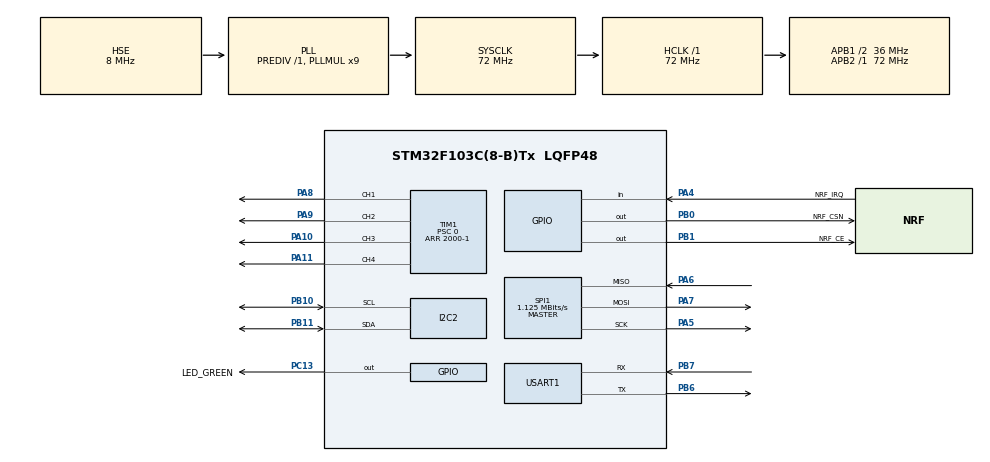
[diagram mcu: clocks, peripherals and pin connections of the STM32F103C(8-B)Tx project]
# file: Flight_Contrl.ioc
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FREERTOS.Mutexes01=NRF_Mutex,Dynamic,NULL
FREERTOS.Tasks01=DefaultTask,0,64,StartDefaultTask,Default,NULL,Dynamic,NULL,NULL;NRF_RxTask,2,128,StartNRF_RxTask,Default,NULL,Dynamic,NULL,NULL;NRF_TxTask,2,128,StartNRF_TxTask,Default,NULL,Dynamic,NULL,NULL
FREERTOS.configENABLE_BACKWARD_COMPATIBILITY=0
FREERTOS.configGENERATE_RUN_TIME_STATS=1
FREERTOS.configIDLE_SHOULD_YIELD=0
FREERTOS.configMINIMAL_STACK_SIZE=64
FREERTOS.configQUEUE_REGISTRY_SIZE=0
FREERTOS.configUSE_MUTEXES=1
FREERTOS.configUSE_STATS_FORMATTING_FUNCTIONS=1
FREERTOS.configUSE_TASK_NOTIFICATIONS=0
FREERTOS.configUSE_TRACE_FACILITY=1
I2C2.I2C_Mode=I2C_Fast
Mcu.Family=STM32F1
Mcu.Name=STM32F103C(8-B)Tx
Mcu.Package=LQFP48
NVIC.PriorityGroup=NVIC_PRIORITYGROUP_4
NVIC.TIM2_IRQn=true\:0\:0\:false\:false\:true\:false\:false
NVIC.TIM4_IRQn=true\:5\:0\:true\:true\:true\:1\:true\:true
NVIC.TimeBase=TIM2_IRQn
NVIC.TimeBaseIP=TIM2
PA10.Signal=S_TIM1_CH3
PA11.Signal=S_TIM1_CH4
PA13.Mode=Serial_Wire
PA13.Signal=SYS_JTMS-SWDIO
PA14.Mode=Serial_Wire
PA14.Signal=SYS_JTCK-SWCLK
PA4.GPIO_Label=NRF_IRQ
PA4.GPIO_PuPd=GPIO_NOPULL
PA4.Signal=GPIO_Input
PA5.Mode=Full_Duplex_Master
PA5.Signal=SPI1_SCK
PA6.Mode=Full_Duplex_Master
PA6.Signal=SPI1_MISO
PA7.Mode=Full_Duplex_Master
PA7.Signal=SPI1_MOSI
PA8.Signal=S_TIM1_CH1
PA9.Signal=S_TIM1_CH2
PB0.GPIO_Label=NRF_CSN
PB0.GPIO_Speed=GPIO_SPEED_FREQ_HIGH
PB0.Signal=GPIO_Output
PB1.GPIO_Label=NRF_CE
PB1.GPIO_Speed=GPIO_SPEED_FREQ_HIGH
PB1.Signal=GPIO_Output
PB10.Mode=I2C
PB10.Signal=I2C2_SCL
PB11.Mode=I2C
PB11.Signal=I2C2_SDA
PB6.Mode=Asynchronous
PB6.Signal=USART1_TX
PB7.Mode=Asynchronous
PB7.Signal=USART1_RX
PC13-TAMPER-RTC.GPIO_Label=LED_GREEN
PC13-TAMPER-RTC.GPIO_Speed=GPIO_SPEED_FREQ_HIGH
PC13-TAMPER-RTC.Signal=GPIO_Output
PC14-OSC32_IN.Mode=LSE-External-Oscillator
PC14-OSC32_IN.Signal=RCC_OSC32_IN
PC15-OSC32_OUT.Mode=LSE-External-Oscillator
PC15-OSC32_OUT.Signal=RCC_OSC32_OUT
PD0-OSC_IN.Mode=HSE-External-Oscillator
PD0-OSC_IN.Signal=RCC_OSC_IN
PD1-OSC_OUT.Mode=HSE-External-Oscillator
PD1-OSC_OUT.Signal=RCC_OSC_OUT
ProjectManager.HeapSize=0x400
ProjectManager.StackSize=0x600
ProjectManager.TargetToolchain=MDK-ARM V5
RCC.AHBFreq_Value=72000000
RCC.APB1CLKDivider=RCC_HCLK_DIV2
RCC.APB1Freq_Value=36000000
RCC.APB1TimFreq_Value=72000000
RCC.APB2Freq_Value=72000000
RCC.APB2TimFreq_Value=72000000
RCC.EnbaleCSS=true
RCC.HCLKFreq_Value=72000000
RCC.PLLMUL=RCC_PLL_MUL9
RCC.PLLSourceVirtual=RCC_PLLSOURCE_HSE
RCC.SYSCLKFreq_VALUE=72000000
RCC.SYSCLKSource=RCC_SYSCLKSOURCE_PLLCLK
RCC.USBFreq_Value=48000000
RCC.USBPrescaler=RCC_USBCLKSOURCE_PLL_DIV1_5
SH.S_TIM1_CH1.0=TIM1_CH1,PWM Generation1 CH1
SH.S_TIM1_CH2.0=TIM1_CH2,PWM Generation2 CH2
SH.S_TIM1_CH3.0=TIM1_CH3,PWM Generation3 CH3
SH.S_TIM1_CH4.0=TIM1_CH4,PWM Generation4 CH4
SPI1.BaudRatePrescaler=SPI_BAUDRATEPRESCALER_64
SPI1.CalculateBaudRate=1.125 MBits/s
SPI1.Direction=SPI_DIRECTION_2LINES
SPI1.Mode=SPI_MODE_MASTER
SPI1.VirtualType=VM_MASTER
TIM1.Channel-PWM\ Generation1\ CH1=TIM_CHANNEL_1
TIM1.Channel-PWM\ Generation2\ CH2=TIM_CHANNEL_2
TIM1.Channel-PWM\ Generation3\ CH3=TIM_CHANNEL_3
TIM1.Channel-PWM\ Generation4\ CH4=TIM_CHANNEL_4
TIM1.OCFastMode_PWM-PWM\ Generation1\ CH1=TIM_OCFAST_ENABLE
TIM1.OCFastMode_PWM-PWM\ Generation2\ CH2=TIM_OCFAST_ENABLE
TIM1.OCFastMode_PWM-PWM\ Generation3\ CH3=TIM_OCFAST_ENABLE
TIM1.OCFastMode_PWM-PWM\ Generation4\ CH4=TIM_OCFAST_ENABLE
TIM1.Period=2000-1
TIM1.Prescaler=0
TIM1.Pulse-PWM\ Generation1\ CH1=0
TIM1.Pulse-PWM\ Generation2\ CH2=0
TIM4.Period=1000-1
TIM4.Prescaler=72-1
USART1.VirtualMode=VM_ASYNC
VP_CRC_VS_CRC.Mode=CRC_Activate
VP_FREERTOS_VS_ENABLE.Mode=Enabled
VP_SYS_VS_tim2.Mode=TIM2
VP_TIM1_VS_ClockSourceINT.Mode=Internal
VP_TIM4_VS_ClockSourceINT.Mode=Internal
board=Flight_Contrl

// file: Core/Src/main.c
/* USER CODE BEGIN Header */
/**
  ******************************************************************************
  * @file           : main.c
  * @brief          : Main program body
  ******************************************************************************
  * This notice applies to any and all portions of this file
  * that are not between comment pairs USER CODE BEGIN and
  * USER CODE END. Other portions of this file, whether
  * inserted by the user or by software development tools
  * are owned by their respective copyright owners.
  *
  * Copyright (c) 2018 STMicroelectronics International N.V.
  * All rights reserved.
  *
  * Redistribution and use in source and binary forms, with or without
  * modification, are permitted, provided that the following conditions are met:
  *
  * 1. Redistribution of source code must retain the above copyright notice,
  *    this list of conditions and the following disclaimer.
  * 2. Redistributions in binary form must reproduce the above copyright notice,
  *    this list of conditions and the following disclaimer in the documentation
  *    and/or other materials provided with the distribution.
  * 3. Neither the name of STMicroelectronics nor the names of other
  *    contributors to this software may be used to endorse or promote products
  *    derived from this software without specific written permission.
  * 4. This software, including modifications and/or derivative works of this
  *    software, must execute solely and exclusively on microcontroller or
  *    microprocessor devices manufactured by or for STMicroelectronics.
  * 5. Redistribution and use of this software other than as permitted under
  *    this license is void and will automatically terminate your rights under
  *    this license.
  *
  * THIS SOFTWARE IS PROVIDED BY STMICROELECTRONICS AND CONTRIBUTORS "AS IS"
  * AND ANY EXPRESS, IMPLIED OR STATUTORY WARRANTIES, INCLUDING, BUT NOT
  * LIMITED TO, THE IMPLIED WARRANTIES OF MERCHANTABILITY, FITNESS FOR A
  * PARTICULAR PURPOSE AND NON-INFRINGEMENT OF THIRD PARTY INTELLECTUAL PROPERTY
  * RIGHTS ARE DISCLAIMED TO THE FULLEST EXTENT PERMITTED BY LAW. IN NO EVENT
  * SHALL STMICROELECTRONICS OR CONTRIBUTORS BE LIABLE FOR ANY DIRECT, INDIRECT,
  * INCIDENTAL, SPECIAL, EXEMPLARY, OR CONSEQUENTIAL DAMAGES (INCLUDING, BUT NOT
  * LIMITED TO, PROCUREMENT OF SUBSTITUTE GOODS OR SERVICES; LOSS OF USE, DATA,
  * OR PROFITS; OR BUSINESS INTERRUPTION) HOWEVER CAUSED AND ON ANY THEORY OF
  * LIABILITY, WHETHER IN CONTRACT, STRICT LIABILITY, OR TORT (INCLUDING
  * NEGLIGENCE OR OTHERWISE) ARISING IN ANY WAY OUT OF THE USE OF THIS SOFTWARE,
  * EVEN IF ADVISED OF THE POSSIBILITY OF SUCH DAMAGE.
  *
  ******************************************************************************
  */
/* USER CODE END Header */

#include "main.h"
#include "cmsis_os.h"
#include "crc.h"
#include "i2c.h"
#include "spi.h"
#include "tim.h"
#include "usart.h"
#include "gpio.h"

/* USER CODE BEGIN Includes */
#include "BSP_NRF24L01.h"
/* USER CODE END Includes */

/* USER CODE BEGIN PV */
uint8_t NRF_TxState=0;
uint8_t NRF_RxState=0;

uint8_t Tx_packet[11]="FCTx_packet";
uint8_t Rx_packet[11];
/* USER CODE END PV */

void SystemClock_Config(void);
void MX_FREERTOS_Init(void);
static void MX_NVIC_Init(void);

int main(void)
{

  /* MCU Configuration--------------------------------------------------------*/

  /* Reset of all peripherals, Initializes the Flash interface and the Systick. */
  HAL_Init();

  /* Configure the system clock */
  SystemClock_Config();

  /* Initialize all configured peripherals */
  MX_GPIO_Init();
  MX_I2C2_Init();
  MX_SPI1_Init();
  MX_TIM1_Init();
  MX_USART1_UART_Init();
  MX_CRC_Init();
  MX_TIM4_Init();

  /* Initialize interrupts */
  MX_NVIC_Init();
  /* USER CODE BEGIN 2 */

	/*   检测双向通信  先发送测试  后接收测试  确保硬件没有问题    */

	/*********发送测试部分**********/
//	NRF24L01_TX_Mode();
//  while(1)
//	{
//	  NRF_TxState=NRF24L01_TxPacket(Tx_packet);
//	}

	/*********接收测试部分**********/
//	NRF24L01_RX_Mode();
//  while(1)
//	{
//	  NRF_RxState=NRF24L01_RxPacket(Rx_packet);
//	}

  /* USER CODE END 2 */

  /* Call init function for freertos objects (in freertos.c) */
  MX_FREERTOS_Init();

  /* Start scheduler */
  osKernelStart();

  /* We should never get here as control is now taken by the scheduler */

  /* Infinite loop */
  while (1)
  {

  }
}

void SystemClock_Config(void)
{
  RCC_OscInitTypeDef RCC_OscInitStruct = {0};
  RCC_ClkInitTypeDef RCC_ClkInitStruct = {0};

  /**Initializes the CPU, AHB and APB busses clocks
  */
  RCC_OscInitStruct.OscillatorType = RCC_OSCILLATORTYPE_HSE;
  RCC_OscInitStruct.HSEState = RCC_HSE_ON;
  RCC_OscInitStruct.HSEPredivValue = RCC_HSE_PREDIV_DIV1;
  RCC_OscInitStruct.HSIState = RCC_HSI_ON;
  RCC_OscInitStruct.PLL.PLLState = RCC_PLL_ON;
  RCC_OscInitStruct.PLL.PLLSource = RCC_PLLSOURCE_HSE;
  RCC_OscInitStruct.PLL.PLLMUL = RCC_PLL_MUL9;
  if (HAL_RCC_OscConfig(&RCC_OscInitStruct) != HAL_OK)
  {
    Error_Handler();
  }
  /**Initializes the CPU, AHB and APB busses clocks
  */
  RCC_ClkInitStruct.ClockType = RCC_CLOCKTYPE_HCLK|RCC_CLOCKTYPE_SYSCLK
                              |RCC_CLOCKTYPE_PCLK1|RCC_CLOCKTYPE_PCLK2;
  RCC_ClkInitStruct.SYSCLKSource = RCC_SYSCLKSOURCE_PLLCLK;
  RCC_ClkInitStruct.AHBCLKDivider = RCC_SYSCLK_DIV1;
  RCC_ClkInitStruct.APB1CLKDivider = RCC_HCLK_DIV2;
  RCC_ClkInitStruct.APB2CLKDivider = RCC_HCLK_DIV1;

  if (HAL_RCC_ClockConfig(&RCC_ClkInitStruct, FLASH_LATENCY_2) != HAL_OK)
  {
    Error_Handler();
  }
  /**Enables the Clock Security System
  */
  HAL_RCC_EnableCSS();
}

/**
  * @brief NVIC Configuration.
  * @retval None
  */
static void MX_NVIC_Init(void)
{
  /* TIM4_IRQn interrupt configuration */
  HAL_NVIC_SetPriority(TIM4_IRQn, 5, 0);
  HAL_NVIC_EnableIRQ(TIM4_IRQn);
}

void HAL_TIM_PeriodElapsedCallback(TIM_HandleTypeDef *htim)
{
  if (htim->Instance == TIM2) {
    HAL_IncTick();
  }
}

void Error_Handler(void)
{
}

/************************ (C) COPYRIGHT STMicroelectronics *****END OF FILE****/

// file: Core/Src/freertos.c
/* USER CODE BEGIN Header */
/**
  ******************************************************************************
  * File Name          : freertos.c
  * Description        : Code for freertos applications
  ******************************************************************************
  * This notice applies to any and all portions of this file
  * that are not between comment pairs USER CODE BEGIN and
  * USER CODE END. Other portions of this file, whether
  * inserted by the user or by software development tools
  * are owned by their respective copyright owners.
  *
  * Copyright (c) 2018 STMicroelectronics International N.V.
  * All rights reserved.
  *
  * Redistribution and use in source and binary forms, with or without
  * modification, are permitted, provided that the following conditions are met:
  *
  * 1. Redistribution of source code must retain the above copyright notice,
  *    this list of conditions and the following disclaimer.
  * 2. Redistributions in binary form must reproduce the above copyright notice,
  *    this list of conditions and the following disclaimer in the documentation
  *    and/or other materials provided with the distribution.
  * 3. Neither the name of STMicroelectronics nor the names of other
  *    contributors to this software may be used to endorse or promote products
  *    derived from this software without specific written permission.
  * 4. This software, including modifications and/or derivative works of this
  *    software, must execute solely and exclusively on microcontroller or
  *    microprocessor devices manufactured by or for STMicroelectronics.
  * 5. Redistribution and use of this software other than as permitted under
  *    this license is void and will automatically terminate your rights under
  *    this license.
  *
  * THIS SOFTWARE IS PROVIDED BY STMICROELECTRONICS AND CONTRIBUTORS "AS IS"
  * AND ANY EXPRESS, IMPLIED OR STATUTORY WARRANTIES, INCLUDING, BUT NOT
  * LIMITED TO, THE IMPLIED WARRANTIES OF MERCHANTABILITY, FITNESS FOR A
  * PARTICULAR PURPOSE AND NON-INFRINGEMENT OF THIRD PARTY INTELLECTUAL PROPERTY
  * RIGHTS ARE DISCLAIMED TO THE FULLEST EXTENT PERMITTED BY LAW. IN NO EVENT
  * SHALL STMICROELECTRONICS OR CONTRIBUTORS BE LIABLE FOR ANY DIRECT, INDIRECT,
  * INCIDENTAL, SPECIAL, EXEMPLARY, OR CONSEQUENTIAL DAMAGES (INCLUDING, BUT NOT
  * LIMITED TO, PROCUREMENT OF SUBSTITUTE GOODS OR SERVICES; LOSS OF USE, DATA,
  * OR PROFITS; OR BUSINESS INTERRUPTION) HOWEVER CAUSED AND ON ANY THEORY OF
  * LIABILITY, WHETHER IN CONTRACT, STRICT LIABILITY, OR TORT (INCLUDING
  * NEGLIGENCE OR OTHERWISE) ARISING IN ANY WAY OUT OF THE USE OF THIS SOFTWARE,
  * EVEN IF ADVISED OF THE POSSIBILITY OF SUCH DAMAGE.
  *
  ******************************************************************************
  */
/* USER CODE END Header */

#include "FreeRTOS.h"
#include "task.h"
#include "main.h"
#include "cmsis_os.h"

/* USER CODE BEGIN Includes */
#include "crc.h"
#include "gpio.h"

#include "BSP_LED.h"
#include "BSP_NRF24L01.h"
#include "string.h"

/* USER CODE END Includes */

/* USER CODE BEGIN PD */

#define NRF_TX_MAXRETRY 3
#define NRF_RX_MAXRETRY 3
/* USER CODE END PD */

osThreadId DefaultTaskHandle;
osThreadId NRF_RxTaskHandle;
osThreadId NRF_TxTaskHandle;
osMutexId NRF_MutexHandle;

void StartDefaultTask(void const * argument);
void StartNRF_RxTask(void const * argument);
void StartNRF_TxTask(void const * argument);

void MX_FREERTOS_Init(void); /* (MISRA C 2004 rule 8.1) */

/* Hook prototypes */
void configureTimerForRunTimeStats(void);
unsigned long getRunTimeCounterValue(void);

/* USER CODE BEGIN 1 */
/* Functions needed when configGENERATE_RUN_TIME_STATS is on */
__weak void configureTimerForRunTimeStats(void)
{

}

__weak unsigned long getRunTimeCounterValue(void)
{
return 0;
}
/* USER CODE END 1 */

void MX_FREERTOS_Init(void) {

  /* Create the mutex(es) */
  /* definition and creation of NRF_Mutex */
  osMutexDef(NRF_Mutex);
  NRF_MutexHandle = osMutexCreate(osMutex(NRF_Mutex));

  /* Create the thread(s) */
  /* definition and creation of DefaultTask */
  osThreadDef(DefaultTask, StartDefaultTask, osPriorityNormal, 0, 64);
  DefaultTaskHandle = osThreadCreate(osThread(DefaultTask), NULL);

  /* definition and creation of NRF_RxTask */
  osThreadDef(NRF_RxTask, StartNRF_RxTask, osPriorityHigh, 0, 256);
  NRF_RxTaskHandle = osThreadCreate(osThread(NRF_RxTask), NULL);

  /* definition and creation of NRF_TxTask */
  osThreadDef(NRF_TxTask, StartNRF_TxTask, osPriorityHigh, 0, 256);
  NRF_TxTaskHandle = osThreadCreate(osThread(NRF_TxTask), NULL);

}

void StartDefaultTask(void const * argument)
{

  /* USER CODE BEGIN StartDefaultTask */
  /* Infinite loop */
  for(;;)
  {

				LED_ON;
				HAL_Delay(3);
				LED_OFF;

    osDelay(1000);
  }
  /* USER CODE END StartDefaultTask */
}

void StartNRF_RxTask(void const * argument)
{
  /* USER CODE BEGIN StartNRF_RxTask */
	 uint8_t Rx_packet[2]={0},RetryTimes=0;
  __IO uint8_t NRF_RxState=0;
		uint32_t CRC_Buf=0;
		uint32_t CRC_Value=0;

  /* Infinite loop */
  for(;;)
  {
		  osMutexWait(NRF_MutexHandle,osWaitForever);
			 NRF24L01_RX_Mode();
	   NRF_RxState=NRF24L01_RxPacket(Rx_packet);
    osMutexRelease(NRF_MutexHandle);

				if( NRF_RxState != RX_OK )
				{
						for(RetryTimes=0;RetryTimes<NRF_RX_MAXRETRY;RetryTimes++)
						{
								osMutexWait(NRF_MutexHandle,osWaitForever);
								NRF_RxState=NRF24L01_RxPacket(Rx_packet);
//							 printf("Rx_packet:%d    Rx_CRC:%2x    Rx_times:%d  RxState:%x\r\n",Rx_packet[0],Rx_packet[1],RetryTimes,NRF_RxState);
								osMutexRelease(NRF_MutexHandle);
								if( NRF_RxState == RX_OK) break;
						}
				}
				else
				{
						if(RetryTimes != 0)
						{
								RetryTimes=0;
						}
						CRC_Value=HAL_CRC_Calculate(&hcrc,&CRC_Buf,1);
						if( (uint8_t)CRC_Value == Rx_packet[1]  )
						{
//						  printf("Rx:%d CRC OK\r\n",Rx_packet[0]);
						}
						else
						{
//								printf("CRC ERROR\r\n");
						}
				}
				osMutexWait(NRF_MutexHandle,osWaitForever);
				NRF24L01_TX_Mode();
				osMutexRelease(NRF_MutexHandle);

				while( osThreadResume(NRF_TxTaskHandle)  != osOK);
				while( osThreadSuspend(NRF_RxTaskHandle) != osOK);
    osDelay(1);
  }
  /* USER CODE END StartNRF_RxTask */
}

void StartNRF_TxTask(void const * argument)
{
  /* USER CODE BEGIN StartNRF_TxTask */
		__IO uint8_t NRF_TxState=0;
	 __IO uint8_t RetryTimes=0;
		uint8_t Tx_packet[2]={0,0};
		uint32_t CRC_Buf=0;
		uint32_t CRC_Value=0;

		while ( osThreadSuspend(NRF_TxTaskHandle) != osOK);
  /* Infinite loop */
  for(;;)
  {

				Tx_packet[0]++;
				CRC_Buf=Tx_packet[0];

				CRC_Value=HAL_CRC_Calculate(&hcrc,&CRC_Buf,1);
				Tx_packet[1]=(uint8_t)CRC_Value;

				osMutexWait(NRF_MutexHandle,osWaitForever);
				NRF_TxState=NRF24L01_TxPacket(Tx_packet);
				osMutexRelease(NRF_MutexHandle);

				if( NRF_TxState != TX_OK && RetryTimes<NRF_TX_MAXRETRY)
				{
						for(RetryTimes=0;RetryTimes<NRF_TX_MAXRETRY;RetryTimes++)
						{
								osMutexWait(NRF_MutexHandle,osWaitForever);
								NRF_TxState=NRF24L01_TxPacket(Tx_packet);
								printf("Tx_packet:%d   Tx_CRC:%2x    Tx_times:%d   NRF_TxState:%2x\r\n",Tx_packet[0],(uint8_t)CRC_Value,RetryTimes,NRF_TxState);
								osMutexRelease(NRF_MutexHandle);
								if( NRF_TxState == TX_OK) 	break;
						}
				}
				else
				{
						if(RetryTimes != 0)
						{
							 printf("Tx fail\r\n \r\n");
								RetryTimes=0;
						}
						else
						{
						  printf("Tx ok\r\n \r\n");
						}
				}
				while( osThreadResume(NRF_RxTaskHandle)   != osOK);
				while( osThreadSuspend(NRF_TxTaskHandle)  != osOK);
				osDelay(1);
  }
  /* USER CODE END StartNRF_TxTask */
}

/************************ (C) COPYRIGHT STMicroelectronics *****END OF FILE****/
